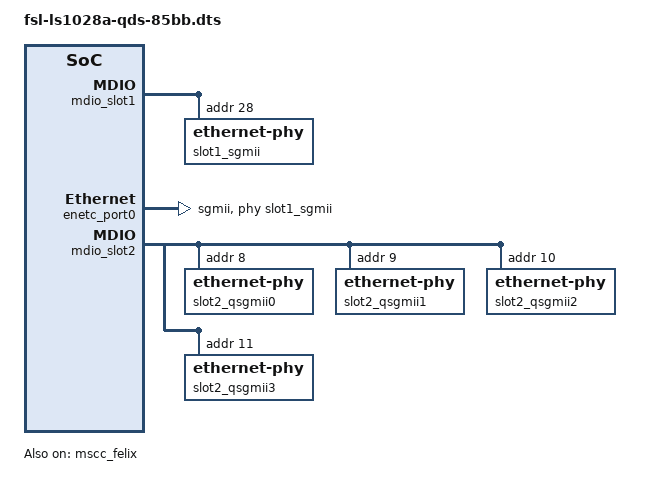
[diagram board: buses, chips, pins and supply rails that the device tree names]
// SPDX-License-Identifier: (GPL-2.0+ OR MIT)
/*
 * Device Tree fragment for LS1028A QDS board, serdes 85bb
 *
 * Copyright 2019-2021 NXP
 *
 * Requires a LS1028A QDS board with lane B rework.
 * Requires a SCH-24801 card in slot 1 and a SCH-28021 card in slot 2.
 */

/dts-v1/;
/plugin/;

/ {
	fragment@0 {
		target = <&mdio_slot1>;

		__overlay__ {
			#address-cells = <1>;
			#size-cells = <0>;

			slot1_sgmii: ethernet-phy@1c {
				/* 1st port on VSC8234 */
				reg = <0x1c>;
			};
		};
	};

	fragment@1 {
		target = <&enetc_port0>;

		__overlay__ {
			phy-handle = <&slot1_sgmii>;
			phy-mode = "sgmii";
			managed = "in-band-status";
			status = "okay";
		};
	};

	fragment@2 {
		target = <&mdio_slot2>;

		__overlay__ {
			#address-cells = <1>;
			#size-cells = <0>;

			/* 4 ports on VSC8514 */
			slot2_qsgmii0: ethernet-phy@8 {
				reg = <0x8>;
			};

			slot2_qsgmii1: ethernet-phy@9 {
				reg = <0x9>;
			};

			slot2_qsgmii2: ethernet-phy@a {
				reg = <0xa>;
			};

			slot2_qsgmii3: ethernet-phy@b {
				reg = <0xb>;
			};
		};
	};

	fragment@3 {
		target = <&mscc_felix_ports>;

		__overlay__ {
			port@0 {
				status = "okay";
				phy-handle = <&slot2_qsgmii0>;
				phy-mode = "qsgmii";
				managed = "in-band-status";
			};

			port@1 {
				status = "okay";
				phy-handle = <&slot2_qsgmii1>;
				phy-mode = "qsgmii";
				managed = "in-band-status";
			};

			port@2 {
				status = "okay";
				phy-handle = <&slot2_qsgmii2>;
				phy-mode = "qsgmii";
				managed = "in-band-status";
			};

			port@3 {
				status = "okay";
				phy-handle = <&slot2_qsgmii3>;
				phy-mode = "qsgmii";
				managed = "in-band-status";
			};
		};
	};

	fragment@4 {
		target = <&mscc_felix>;

		__overlay__ {
			status = "okay";
		};
	};
};
